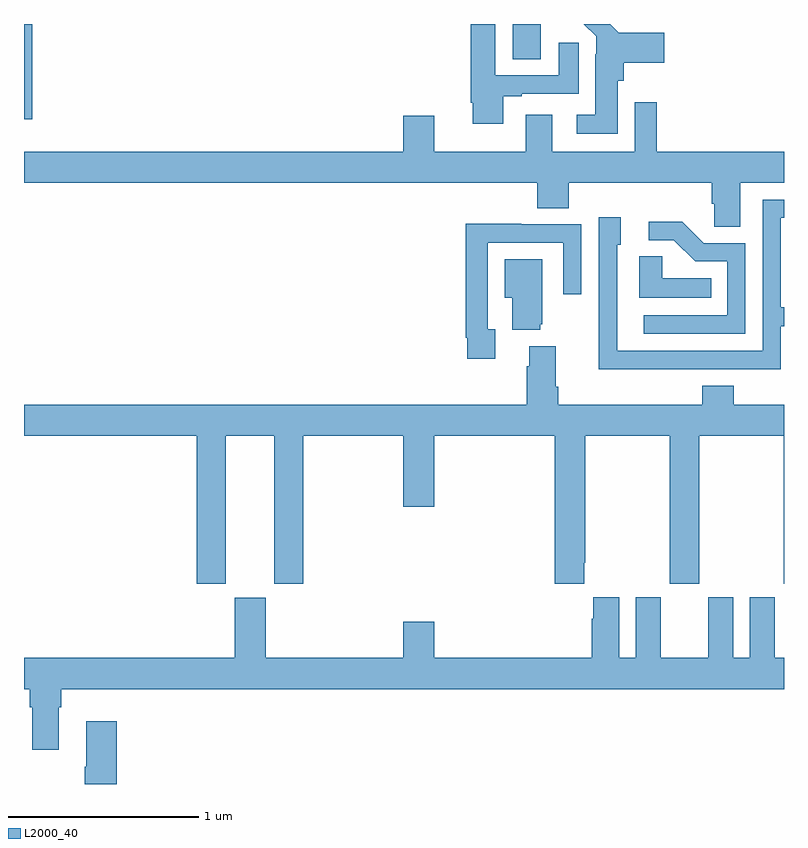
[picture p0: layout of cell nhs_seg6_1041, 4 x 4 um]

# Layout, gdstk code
import gdstk
lib = gdstk.Library(unit=1e-6, precision=1e-09)
def R(c, l, rs):  # rectangles x0, y0, x1, y1
    for r in rs: c.add(gdstk.rectangle(r[:2], r[2:], *l))
def P(c, l, *ps):  # polygons
    for p in ps: c.add(gdstk.Polygon(p, *l))
L2000_40 = (2000, 40)

nhs_seg6_1041 = lib.new_cell('nhs_seg6_1041')
R(nhs_seg6_1041, L2000_40, [(175,952.998,175.043,953.5), (177.572,953.314,177.721,953.5)])
P(nhs_seg6_1041, L2000_40, [(178.126,953.202),(178.157,953.202),(178.157,953.297),(178.369,953.297),(178.369,953.455),(178.131,953.455),(178.086,953.5),(177.947,953.5),(178.011,953.436),(178.011,953.342),(178.007,953.342),(178.007,953.023),(177.909,953.023),(177.909,952.922),(178.126,952.922)],
  [(177.523,953.121),(177.619,953.121),(177.619,953.133),(177.919,953.133),(177.919,953.401),(177.815,953.401),(177.815,953.229),(177.481,953.229),(177.481,953.5),(177.35,953.5),(177.35,953.086),(177.362,953.086),(177.362,952.974),(177.523,952.974)],
  [(178.771,952.664),(179,952.664),(179,952.828),(178.331,952.828),(178.331,953.089),(178.215,953.089),(178.215,952.828),(177.781,952.828),(177.781,953.023),(177.641,953.023),(177.641,952.828),(177.16,952.828),(177.16,953.017),(176.996,953.017),(176.996,952.828),(175,952.828),(175,952.664),(177.701,952.664),(177.701,952.531),(177.866,952.531),(177.866,952.664),(178.619,952.664),(178.619,952.555),(178.632,952.555),(178.632,952.432),(178.771,952.432)],
  [(178.487,951.684),(178.983,951.684),(178.983,951.909),(179,951.909),(179,952.01),(178.983,952.01),(178.983,952.479),(179,952.479),(179,952.575),(178.887,952.575),(178.887,951.78),(178.122,951.78),(178.122,952.338),(178.141,952.338),(178.141,952.483),(178.026,952.483),(178.026,951.989),(178.024,951.989),(178.024,951.683),(178.487,951.683)],
  [(178.797,952.347),(178.578,952.347),(178.465,952.46),(178.287,952.46),(178.287,952.362),(178.421,952.362),(178.532,952.251),(178.701,952.251),(178.701,951.966),(178.263,951.966),(178.263,951.87),(178.797,951.87)],
  [(177.481,951.894),(177.441,951.894),(177.441,952.35),(177.837,952.35),(177.837,952.077),(177.933,952.077),(177.933,952.446),(177.617,952.446),(177.617,952.448),(177.325,952.448),(177.325,951.85),(177.333,951.85),(177.333,951.738),(177.481,951.738)],
  [(178.616,952.162),(178.359,952.162),(178.359,952.277),(178.238,952.277),(178.238,952.058),(178.616,952.058)],
  [(177.716,951.921),(177.727,951.921),(177.727,952.261),(177.53,952.261),(177.53,952.058),(177.569,952.058),(177.569,951.89),(177.716,951.89)],
  [(176.062,951.332),(176.318,951.332),(176.318,950.553),(176.471,950.553),(176.471,951.332),(176.996,951.332),(176.996,950.958),(177.16,950.958),(177.16,951.332),(177.794,951.332),(177.794,950.553),(177.949,950.553),(177.949,950.665),(177.954,950.665),(177.954,951.332),(178.399,951.332),(178.399,950.553),(178.554,950.553),(178.554,951.332),(178.999,951.332),(178.999,950.553),(179,950.553),(179,951.496),(178.736,951.496),(178.736,951.595),(178.571,951.595),(178.571,951.496),(177.812,951.496),(177.812,951.592),(177.799,951.592),(177.799,951.805),(177.659,951.805),(177.659,951.698),(177.647,951.698),(177.647,951.496),(175,951.496),(175,951.332),(175.91,951.332),(175.91,950.553),(176.062,950.553)],
  [(175.183,949.904),(175.196,949.904),(175.196,950),(179,950),(179,950.164),(178.951,950.164),(178.951,950.482),(178.82,950.482),(178.82,950.164),(178.732,950.164),(178.732,950.482),(178.601,950.482),(178.601,950.164),(178.351,950.164),(178.351,950.482),(178.22,950.482),(178.22,950.164),(178.132,950.164),(178.132,950.482),(177.995,950.482),(177.995,950.369),(177.989,950.369),(177.989,950.164),(177.16,950.164),(177.16,950.353),(176.996,950.353),(176.996,950.164),(176.272,950.164),(176.272,950.481),(176.108,950.481),(176.108,950.164),(175,950.164),(175,950),(175.031,950),(175.031,949.904),(175.043,949.904),(175.043,949.68),(175.183,949.68)],
  [(175.487,949.831),(175.328,949.831),(175.328,949.592),(175.321,949.592),(175.321,949.5),(175.487,949.5)])

lib.write_gds('nhs_seg6_1041.gds')
